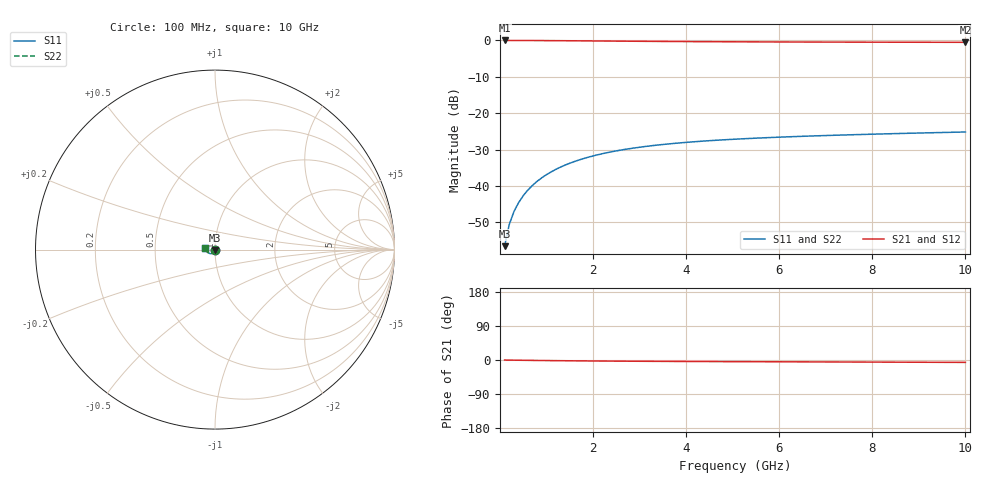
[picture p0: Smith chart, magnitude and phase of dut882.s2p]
! Touchstone file exported from HFSS 2024.1.0
!  File:  C:/UserFiles/LocalFiles/RDL_TSV_Batchsim/temp_TSV1_882_1779883884.aedt
!  Generated:  08:18:03 PM May 27, 2026
!  Design:  TSV1
!  Project:  temp_TSV1_882_1779883884
!  Setup:  Setup1
!  Solution:  Sweep
! Variables:
!  dtsv = 10.18um
!  hbump = 3um
!  htsv = 99.55um
!  lrdl = 252.1521522um
!  p = 40
!  p1 = 55.67um
!  t = 500um
!  trdl = 3um
!  wrdl = 24.89489489um
# GHz S MA R 50.000000
! Terminal data exported
! Port[1] = TSV22_T1
! Port[2] = TSV22_T2
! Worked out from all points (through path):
!   100 points, 100 MHz to 10 GHz, reference 50 ohm
!   highest |S21| = 0.00 dB at 100 MHz (marker M1); lowest = -0.5 dB at 10 GHz (marker M2)
!   lowest |S11| = -56.6 dB at 100 MHz (marker M3), VSWR 1.00, Z = 50 - j0.148 ohm
!   |S11| at or under -10 dB: start of sweep to end of sweep
!   |S22| runs from -56.6 to -25.2 dB; largest |S21 - S12| = 3.8e-15
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0.1  0.00148 -85.7  0.9998 -0.2  0.9998 -0.2  0.00148 -85.7
! Gamma 0 0 0 0
! Port Impedance 50 0 50 0
0.2  0.002947 -90.7  0.9996 -0.3  0.9996 -0.3  0.002947 -90.7
0.3  0.004414 -93.6  0.9994 -0.5  0.9994 -0.5  0.004414 -93.6
0.4  0.005874 -96.0  0.999 -0.6  0.999 -0.6  0.005874 -96.0
0.5  0.007323 -98.3  0.9985 -0.8  0.9985 -0.8  0.007323 -98.3
0.6  0.008757 -100.4  0.998 -0.9  0.998 -0.9  0.008757 -100.4
0.7  0.01017 -102.5  0.9974 -1.1  0.9974 -1.1  0.01017 -102.5
0.8  0.01156 -104.5  0.9967 -1.2  0.9967 -1.2  0.01156 -104.5
0.9  0.01293 -106.5  0.9959 -1.3  0.9959 -1.3  0.01293 -106.5
1.1  0.01557 -110.3  0.9942 -1.6  0.9942 -1.6  0.01557 -110.3
1.4  0.01929 -115.8  0.9912 -2.0  0.9912 -2.0  0.01929 -115.8
1.6  0.0216 -119.2  0.9891 -2.2  0.9891 -2.2  0.0216 -119.2
1.8  0.02377 -122.5  0.9869 -2.4  0.9869 -2.4  0.02377 -122.5
2.1  0.02676 -127.3  0.9835 -2.7  0.9835 -2.7  0.02676 -127.3
2.5  0.03027 -133.1  0.9791 -3.0  0.9791 -3.0  0.03027 -133.1
2.9  0.03329 -138.4  0.9749 -3.3  0.9749 -3.3  0.03329 -138.4
3.4  0.03648 -144.4  0.9701 -3.6  0.9701 -3.6  0.03648 -144.4
4.2  0.04054 -152.8  0.9636 -4.0  0.9636 -4.0  0.04054 -152.8
5.1  0.04401 -160.8  0.9579 -4.4  0.9579 -4.4  0.04401 -160.8
6.7  0.04852 -172.3  0.9507 -5.0  0.9507 -5.0  0.04852 -172.3
8.4  0.05214 177.9  0.9458 -5.7  0.9458 -5.7  0.05214 177.9
10  0.05507 170.1  0.9427 -6.3  0.9427 -6.3  0.05506 170.1
